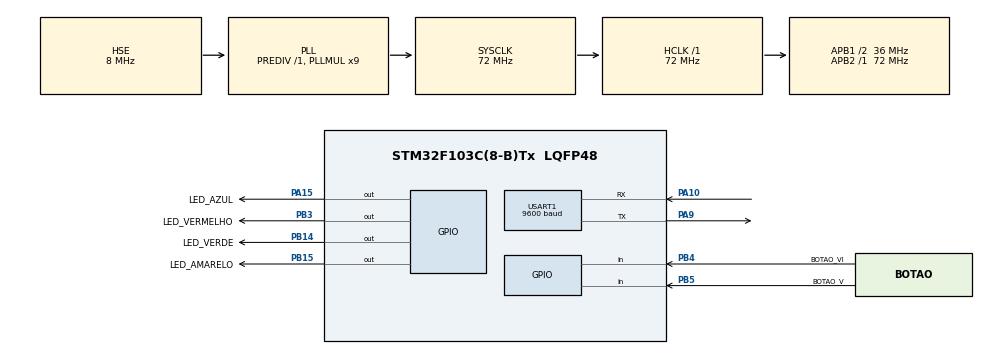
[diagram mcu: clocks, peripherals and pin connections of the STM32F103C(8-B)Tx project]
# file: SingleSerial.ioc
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Dma.Request0=USART1_RX
Dma.USART1_RX.0.Direction=DMA_PERIPH_TO_MEMORY
Dma.USART1_RX.0.Instance=DMA1_Channel5
Dma.USART1_RX.0.MemDataAlignment=DMA_MDATAALIGN_BYTE
Dma.USART1_RX.0.MemInc=DMA_MINC_ENABLE
Dma.USART1_RX.0.Mode=DMA_CIRCULAR
Dma.USART1_RX.0.PeriphDataAlignment=DMA_PDATAALIGN_BYTE
Dma.USART1_RX.0.PeriphInc=DMA_PINC_DISABLE
Dma.USART1_RX.0.Priority=DMA_PRIORITY_LOW
Mcu.Family=STM32F1
Mcu.Name=STM32F103C(8-B)Tx
Mcu.Package=LQFP48
NVIC.DMA1_Channel5_IRQn=true\:0\:0\:false\:false\:true\:false\:true
NVIC.PriorityGroup=NVIC_PRIORITYGROUP_4
NVIC.USART1_IRQn=true\:0\:0\:false\:false\:true\:true\:true
PA10.Mode=Asynchronous
PA10.Signal=USART1_RX
PA15.GPIO_Label=LED_AZUL
PA15.Signal=GPIO_Output
PA9.Mode=Asynchronous
PA9.Signal=USART1_TX
PB14.GPIO_Label=LED_VERDE
PB14.Signal=GPIO_Output
PB15.GPIO_Label=LED_AMARELO
PB15.Signal=GPIO_Output
PB3.GPIO_Label=LED_VERMELHO
PB3.Signal=GPIO_Output
PB4.GPIO_Label=BOTAO_VI
PB4.Signal=GPIO_Input
PB5.GPIO_Label=BOTAO_V
PB5.Signal=GPIO_Input
PC14-OSC32_IN.Mode=LSE-External-Oscillator
PC14-OSC32_IN.Signal=RCC_OSC32_IN
PC15-OSC32_OUT.Mode=LSE-External-Oscillator
PC15-OSC32_OUT.Signal=RCC_OSC32_OUT
PD0-OSC_IN.Mode=HSE-External-Oscillator
PD0-OSC_IN.Signal=RCC_OSC_IN
PD1-OSC_OUT.Mode=HSE-External-Oscillator
PD1-OSC_OUT.Signal=RCC_OSC_OUT
ProjectManager.HeapSize=0x200
ProjectManager.StackSize=0x400
ProjectManager.TargetToolchain=STM32CubeIDE
RCC.AHBFreq_Value=72000000
RCC.APB1CLKDivider=RCC_HCLK_DIV2
RCC.APB1Freq_Value=36000000
RCC.APB1TimFreq_Value=72000000
RCC.APB2Freq_Value=72000000
RCC.APB2TimFreq_Value=72000000
RCC.HCLKFreq_Value=72000000
RCC.PLLMUL=RCC_PLL_MUL9
RCC.PLLSourceVirtual=RCC_PLLSOURCE_HSE
RCC.SYSCLKFreq_VALUE=72000000
RCC.SYSCLKSource=RCC_SYSCLKSOURCE_PLLCLK
RCC.USBFreq_Value=48000000
RCC.USBPrescaler=RCC_USBCLKSOURCE_PLL_DIV1_5
USART1.BaudRate=9600
USART1.VirtualMode=VM_ASYNC
VP_SYS_VS_ND.Mode=No_Debug
board=custom

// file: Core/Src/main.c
/* USER CODE BEGIN Header */
/**
  ******************************************************************************
  * @file           : main.c
  * @brief          : Main program body
  ******************************************************************************
  * @attention
  *
  * <h2><center>&copy; Copyright (c) 2021 STMicroelectronics.
  * All rights reserved.</center></h2>
  *
  * This software component is licensed by ST under BSD 3-Clause license,
  * the "License"; You may not use this file except in compliance with the
  * License. You may obtain a copy of the License at:
  *                        opensource.org/licenses/BSD-3-Clause
  *
  ******************************************************************************
  */
/* USER CODE END Header */
#include "main.h"

/* USER CODE BEGIN Includes */
#include <stdint.h> // uint8_t ....
#include <stdio.h>  // sprintf()
#include <string.h> // tratamento de string

/* USER CODE END Includes */

UART_HandleTypeDef huart1;
DMA_HandleTypeDef hdma_usart1_rx;

void SystemClock_Config(void);
static void MX_GPIO_Init(void);
static void MX_USART1_UART_Init(void);
static void MX_DMA_Init(void);

int main(void)
{

  /* MCU Configuration--------------------------------------------------------*/

  /* Reset of all peripherals, Initializes the Flash interface and the Systick. */
  HAL_Init();

  /* Configure the system clock */
  SystemClock_Config();

  /* Initialize all configured peripherals */
  MX_GPIO_Init();
  MX_USART1_UART_Init();
  MX_DMA_Init();

  /* Infinite loop */
  /* USER CODE BEGIN WHILE */

    // Buffer para envio de dados
    uint8_t DadoTX[200] = {0};

    // Buffer para recebimento de dados
    uint8_t DadoRX[1] = {0};

while (1)
{

	HAL_UART_Receive(&huart1, DadoRX, 1, 100); // Função para recebimento de mensagens que possam ter sido enviadas por um terminal serial via UART

  	if(DadoRX[0] != 0) // Condição que testa se algum valor foi recebido e gravado na variavel
  	{
  		switch(DadoRX[0])
  		{
  			case '1': HAL_GPIO_TogglePin(LED_AZUL_GPIO_Port, LED_AZUL_Pin);         // Inverte valor do pino LED_AZUL
  					  DadoRX[0] = 0;                                        // Zera caractere recebido
  			  	  	  break;
  			case '2': HAL_GPIO_TogglePin(LED_VERDE_GPIO_Port, LED_VERDE_Pin);	// Inverte valor do pino LED_VERDE
  					  DadoRX[0] = 0; 					// Zera caractere recebido
  					  break;
  			case '3': HAL_GPIO_TogglePin(LED_AMARELO_GPIO_Port, LED_AMARELO_Pin);	// Inverte valor do pino LED_AMARELO
  					  DadoRX[0] = 0; 					// Zera caractere recebido
  					  break;
  			case '4': HAL_GPIO_TogglePin(LED_VERMELHO_GPIO_Port, LED_VERMELHO_Pin); // Inverte valor do pino LED_VERMELHO
  			  	  	  DadoRX[0] = 0;  	  	  	  	  	// Zera caractere recebido
  					  break;
  		}

  	}

  	// Atualiza tela do terminal com os valores para os LEDs e botões
  	sprintf((char *)DadoTX,
  	    "Estados dos LEDS:\n\r1 - Led Azul    : %d \n\r2 - Led Verde   : %d \n\r3 - Led Amarelo : %d \n\r"
  	    "4 - Led Vermelho: %d\n\n\rEstados dos Botoes:\n\rBotao 5: %d\n\rBotao 6: %d\n\n\r",
  	     HAL_GPIO_ReadPin(LED_AZUL_GPIO_Port, LED_AZUL_Pin),HAL_GPIO_ReadPin(LED_VERDE_GPIO_Port, LED_VERDE_Pin),
  		 HAL_GPIO_ReadPin(LED_AMARELO_GPIO_Port, LED_AMARELO_Pin),HAL_GPIO_ReadPin(LED_VERMELHO_GPIO_Port, LED_VERMELHO_Pin),
  		 HAL_GPIO_ReadPin(BOTAO_V_GPIO_Port, BOTAO_V_Pin), HAL_GPIO_ReadPin(BOTAO_VI_GPIO_Port, BOTAO_VI_Pin));

  	// Envia pela serial texto atualizado
  	 HAL_UART_Transmit(&huart1, DadoTX, strlen((const char *)DadoTX), 500);

  	 HAL_Delay(500);
    /* USER CODE END WHILE */

  }
}

void SystemClock_Config(void)
{
  RCC_OscInitTypeDef RCC_OscInitStruct = {0};
  RCC_ClkInitTypeDef RCC_ClkInitStruct = {0};

  /** Initializes the RCC Oscillators according to the specified parameters
  * in the RCC_OscInitTypeDef structure.
  */
  RCC_OscInitStruct.OscillatorType = RCC_OSCILLATORTYPE_HSE;
  RCC_OscInitStruct.HSEState = RCC_HSE_ON;
  RCC_OscInitStruct.HSEPredivValue = RCC_HSE_PREDIV_DIV1;
  RCC_OscInitStruct.HSIState = RCC_HSI_ON;
  RCC_OscInitStruct.PLL.PLLState = RCC_PLL_ON;
  RCC_OscInitStruct.PLL.PLLSource = RCC_PLLSOURCE_HSE;
  RCC_OscInitStruct.PLL.PLLMUL = RCC_PLL_MUL9;
  if (HAL_RCC_OscConfig(&RCC_OscInitStruct) != HAL_OK)
  {
    Error_Handler();
  }
  /** Initializes the CPU, AHB and APB buses clocks
  */
  RCC_ClkInitStruct.ClockType = RCC_CLOCKTYPE_HCLK|RCC_CLOCKTYPE_SYSCLK
                              |RCC_CLOCKTYPE_PCLK1|RCC_CLOCKTYPE_PCLK2;
  RCC_ClkInitStruct.SYSCLKSource = RCC_SYSCLKSOURCE_PLLCLK;
  RCC_ClkInitStruct.AHBCLKDivider = RCC_SYSCLK_DIV1;
  RCC_ClkInitStruct.APB1CLKDivider = RCC_HCLK_DIV2;
  RCC_ClkInitStruct.APB2CLKDivider = RCC_HCLK_DIV1;

  if (HAL_RCC_ClockConfig(&RCC_ClkInitStruct, FLASH_LATENCY_2) != HAL_OK)
  {
    Error_Handler();
  }
}

static void MX_USART1_UART_Init(void)
{

  huart1.Instance = USART1;
  huart1.Init.BaudRate = 9600;
  huart1.Init.WordLength = UART_WORDLENGTH_8B;
  huart1.Init.StopBits = UART_STOPBITS_1;
  huart1.Init.Parity = UART_PARITY_NONE;
  huart1.Init.Mode = UART_MODE_TX_RX;
  huart1.Init.HwFlowCtl = UART_HWCONTROL_NONE;
  huart1.Init.OverSampling = UART_OVERSAMPLING_16;
  if (HAL_UART_Init(&huart1) != HAL_OK)
  {
    Error_Handler();
  }

}

static void MX_DMA_Init(void)
{

  /* DMA controller clock enable */
  __HAL_RCC_DMA1_CLK_ENABLE();

  /* DMA interrupt init */
  /* DMA1_Channel5_IRQn interrupt configuration */
  HAL_NVIC_SetPriority(DMA1_Channel5_IRQn, 0, 0);
  HAL_NVIC_EnableIRQ(DMA1_Channel5_IRQn);

}

static void MX_GPIO_Init(void)
{
  GPIO_InitTypeDef GPIO_InitStruct = {0};

  /* GPIO Ports Clock Enable */
  __HAL_RCC_GPIOC_CLK_ENABLE();
  __HAL_RCC_GPIOD_CLK_ENABLE();
  __HAL_RCC_GPIOB_CLK_ENABLE();
  __HAL_RCC_GPIOA_CLK_ENABLE();

  /*Configure GPIO pin Output Level */
  HAL_GPIO_WritePin(GPIOB, LED_VERDE_Pin|LED_AMARELO_Pin|LED_VERMELHO_Pin, GPIO_PIN_RESET);

  /*Configure GPIO pin Output Level */
  HAL_GPIO_WritePin(LED_AZUL_GPIO_Port, LED_AZUL_Pin, GPIO_PIN_RESET);

  /*Configure GPIO pins : LED_VERDE_Pin LED_AMARELO_Pin LED_VERMELHO_Pin */
  GPIO_InitStruct.Pin = LED_VERDE_Pin|LED_AMARELO_Pin|LED_VERMELHO_Pin;
  GPIO_InitStruct.Mode = GPIO_MODE_OUTPUT_PP;
  GPIO_InitStruct.Pull = GPIO_NOPULL;
  GPIO_InitStruct.Speed = GPIO_SPEED_FREQ_LOW;
  HAL_GPIO_Init(GPIOB, &GPIO_InitStruct);

  /*Configure GPIO pin : LED_AZUL_Pin */
  GPIO_InitStruct.Pin = LED_AZUL_Pin;
  GPIO_InitStruct.Mode = GPIO_MODE_OUTPUT_PP;
  GPIO_InitStruct.Pull = GPIO_NOPULL;
  GPIO_InitStruct.Speed = GPIO_SPEED_FREQ_LOW;
  HAL_GPIO_Init(LED_AZUL_GPIO_Port, &GPIO_InitStruct);

  /*Configure GPIO pins : BOTAO_VI_Pin BOTAO_V_Pin */
  GPIO_InitStruct.Pin = BOTAO_VI_Pin|BOTAO_V_Pin;
  GPIO_InitStruct.Mode = GPIO_MODE_INPUT;
  GPIO_InitStruct.Pull = GPIO_NOPULL;
  HAL_GPIO_Init(GPIOB, &GPIO_InitStruct);

}

void Error_Handler(void)
{
  __disable_irq();
  while (1)
  {
  }
}

/************************ (C) COPYRIGHT STMicroelectronics *****END OF FILE****/
